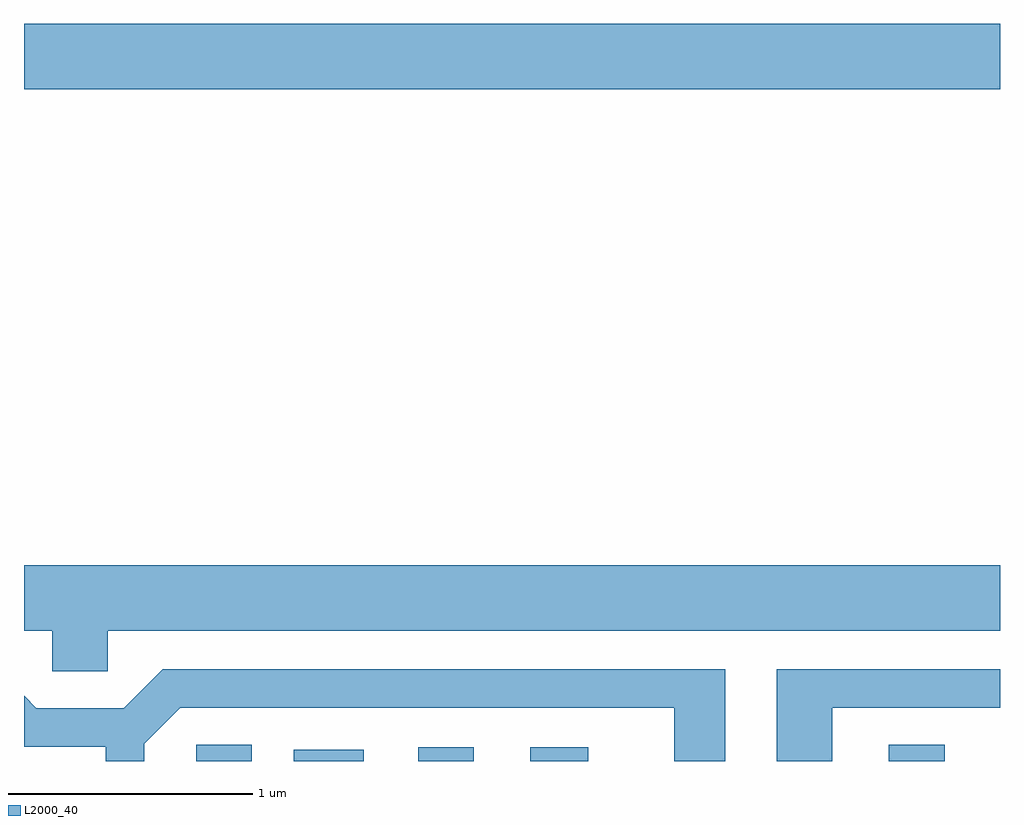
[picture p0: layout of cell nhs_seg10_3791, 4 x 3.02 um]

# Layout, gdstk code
import gdstk
lib = gdstk.Library(unit=1e-6, precision=1e-09)
def R(c, l, rs):  # rectangles x0, y0, x1, y1
    for r in rs: c.add(gdstk.rectangle(r[:2], r[2:], *l))
def P(c, l, *ps):  # polygons
    for p in ps: c.add(gdstk.Polygon(p, *l))
L2000_40 = (2000, 40)

nhs_seg10_3791 = lib.new_cell('nhs_seg10_3791')
R(nhs_seg10_3791, L2000_40, [(298.316,2084.522,298.544,2084.589), (298.716,2084.522,299.003,2084.569), (299.226,2084.522,299.454,2084.579), (299.686,2084.522,299.923,2084.579), (301.156,2084.522,301.384,2084.589), (297.611,2087.276,301.611,2087.544)])
P(nhs_seg10_3791, L2000_40, [(297.954,2085.056),(301.611,2085.056),(301.611,2085.324),(297.611,2085.324),(297.611,2085.056),(297.726,2085.056),(297.726,2084.891),(297.954,2084.891)],
  [(298.104,2084.594),(298.252,2084.741),(300.276,2084.741),(300.276,2084.522),(300.484,2084.522),(300.484,2084.899),(298.179,2084.899),(298.019,2084.739),(297.662,2084.739),(297.611,2084.79),(297.611,2084.581),(297.946,2084.581),(297.946,2084.522),(298.104,2084.522)],
  [(300.924,2084.741),(301.611,2084.741),(301.611,2084.899),(300.696,2084.899),(300.696,2084.522),(300.924,2084.522)])

lib.write_gds('nhs_seg10_3791.gds')
